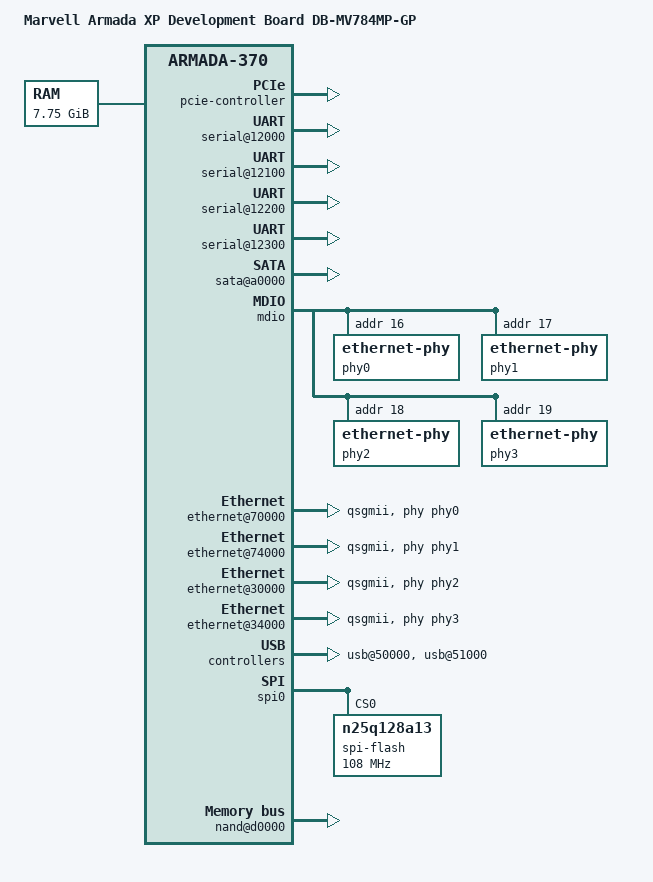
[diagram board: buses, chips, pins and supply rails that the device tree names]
/*
 * Device Tree file for Marvell Armada XP development board
 * (DB-MV784MP-GP)
 *
 * Copyright (C) 2013-2014 Marvell
 *
 * Lior Amsalem <alior@marvell.com>
 * Gregory CLEMENT <gregory.clement@free-electrons.com>
 * Thomas Petazzoni <thomas.petazzoni@free-electrons.com>
 *
 * This file is dual-licensed: you can use it either under the terms
 * of the GPL or the X11 license, at your option. Note that this dual
 * licensing only applies to this file, and not this project as a
 * whole.
 *
 *  a) This file is free software; you can redistribute it and/or
 *     modify it under the terms of the GNU General Public License as
 *     published by the Free Software Foundation; either version 2 of the
 *     License, or (at your option) any later version.
 *
 *     This file is distributed in the hope that it will be useful
 *     but WITHOUT ANY WARRANTY; without even the implied warranty of
 *     MERCHANTABILITY or FITNESS FOR A PARTICULAR PURPOSE.  See the
 *     GNU General Public License for more details.
 *
 * Or, alternatively
 *
 *  b) Permission is hereby granted, free of charge, to any person
 *     obtaining a copy of this software and associated documentation
 *     files (the "Software"), to deal in the Software without
 *     restriction, including without limitation the rights to use
 *     copy, modify, merge, publish, distribute, sublicense, and/or
 *     sell copies of the Software, and to permit persons to whom the
 *     Software is furnished to do so, subject to the following
 *     conditions:
 *
 *     The above copyright notice and this permission notice shall be
 *     included in all copies or substantial portions of the Software.
 *
 *     THE SOFTWARE IS PROVIDED , WITHOUT WARRANTY OF ANY KIND
 *     EXPRESS OR IMPLIED, INCLUDING BUT NOT LIMITED TO THE WARRANTIES
 *     OF MERCHANTABILITY, FITNESS FOR A PARTICULAR PURPOSE AND
 *     NONINFRINGEMENT. IN NO EVENT SHALL THE AUTHORS OR COPYRIGHT
 *     HOLDERS BE LIABLE FOR ANY CLAIM, DAMAGES OR OTHER LIABILITY
 *     WHETHER IN AN ACTION OF CONTRACT, TORT OR OTHERWISE, ARISING
 *     FROM, OUT OF OR IN CONNECTION WITH THE SOFTWARE OR THE USE OR
 *     OTHER DEALINGS IN THE SOFTWARE.
 *
 * Note: this Device Tree assumes that the bootloader has remapped the
 * internal registers to 0xf1000000 (instead of the default
 * 0xd0000000). The 0xf1000000 is the default used by the recent,
 * DT-capable, U-Boot bootloaders provided by Marvell. Some earlier
 * boards were delivered with an older version of the bootloader that
 * left internal registers mapped at 0xd0000000. If you are in this
 * situation, you should either update your bootloader (preferred
 * solution) or the below Device Tree should be adjusted.
 */

/dts-v1/;
#include <dt-bindings/gpio/gpio.h>
#include "armada-xp-mv78460.dtsi"

/ {
	model = "Marvell Armada XP Development Board DB-MV784MP-GP";
	compatible = "marvell,axp-gp", "marvell,armadaxp-mv78460", "marvell,armadaxp", "marvell,armada-370-xp";

	chosen {
		bootargs = "console=ttyS0,115200 earlyprintk";
	};

	memory {
		device_type = "memory";
		/*
                 * 8 GB of plug-in RAM modules by default.The amount
                 * of memory available can be changed by the
                 * bootloader according the size of the module
                 * actually plugged. However, memory between
                 * 0xF0000000 to 0xFFFFFFFF cannot be used, as it is
                 * the address range used for I/O (internal registers,
                 * MBus windows).
		 */
		reg = <0x00000000 0x00000000 0x00000000 0xf0000000>,
		      <0x00000001 0x00000000 0x00000001 0x00000000>;
	};

	cpus {
		pm_pic {
			ctrl-gpios = <&gpio0 16 GPIO_ACTIVE_LOW>,
				     <&gpio0 17 GPIO_ACTIVE_LOW>,
				     <&gpio0 18 GPIO_ACTIVE_LOW>;
		};
	};

	soc {
		ranges = <MBUS_ID(0xf0, 0x01) 0 0 0xf1000000 0x100000
			  MBUS_ID(0x01, 0x1d) 0 0 0xfff00000 0x100000
			  MBUS_ID(0x01, 0x2f) 0 0 0xf0000000 0x1000000>;

		devbus-bootcs {
			status = "okay";

			/* Device Bus parameters are required */

			/* Read parameters */
			devbus,bus-width    = <16>;
			devbus,turn-off-ps  = <60000>;
			devbus,badr-skew-ps = <0>;
			devbus,acc-first-ps = <124000>;
			devbus,acc-next-ps  = <248000>;
			devbus,rd-setup-ps  = <0>;
			devbus,rd-hold-ps   = <0>;

			/* Write parameters */
			devbus,sync-enable = <0>;
			devbus,wr-high-ps  = <60000>;
			devbus,wr-low-ps   = <60000>;
			devbus,ale-wr-ps   = <60000>;

			/* NOR 16 MiB */
			nor@0 {
				compatible = "cfi-flash";
				reg = <0 0x1000000>;
				bank-width = <2>;
			};
		};

		pcie-controller {
			status = "okay";

			/*
			 * The 3 slots are physically present as
			 * standard PCIe slots on the board.
			 */
			pcie@1,0 {
				/* Port 0, Lane 0 */
				status = "okay";
			};
			pcie@9,0 {
				/* Port 2, Lane 0 */
				status = "okay";
			};
			pcie@10,0 {
				/* Port 3, Lane 0 */
				status = "okay";
			};
		};

		internal-regs {
			serial@12000 {
				status = "okay";
			};
			serial@12100 {
				status = "okay";
			};
			serial@12200 {
				status = "okay";
			};
			serial@12300 {
				status = "okay";
			};
			pinctrl {
				pinctrl-0 = <&pic_pins>;
				pinctrl-names = "default";
				pic_pins: pic-pins-0 {
					marvell,pins = "mpp16", "mpp17",
						       "mpp18";
					marvell,function = "gpio";
				};
			};
			sata@a0000 {
				nr-ports = <2>;
				status = "okay";
			};

			mdio {
				phy0: ethernet-phy@0 {
					reg = <16>;
				};

				phy1: ethernet-phy@1 {
					reg = <17>;
				};

				phy2: ethernet-phy@2 {
					reg = <18>;
				};

				phy3: ethernet-phy@3 {
					reg = <19>;
				};
			};

			ethernet@70000 {
				status = "okay";
				phy = <&phy0>;
				phy-mode = "qsgmii";
			};
			ethernet@74000 {
				status = "okay";
				phy = <&phy1>;
				phy-mode = "qsgmii";
			};
			ethernet@30000 {
				status = "okay";
				phy = <&phy2>;
				phy-mode = "qsgmii";
			};
			ethernet@34000 {
				status = "okay";
				phy = <&phy3>;
				phy-mode = "qsgmii";
			};

			/* Front-side USB slot */
			usb@50000 {
				status = "okay";
			};

			/* Back-side USB slot */
			usb@51000 {
				status = "okay";
			};

			spi0: spi@10600 {
				status = "okay";

				spi-flash@0 {
					#address-cells = <1>;
					#size-cells = <1>;
					compatible = "n25q128a13";
					reg = <0>; /* Chip select 0 */
					spi-max-frequency = <108000000>;
				};
			};

			nand@d0000 {
				status = "okay";
				num-cs = <1>;
				marvell,nand-keep-config;
				marvell,nand-enable-arbiter;
				nand-on-flash-bbt;
			};
		};
	};
};
